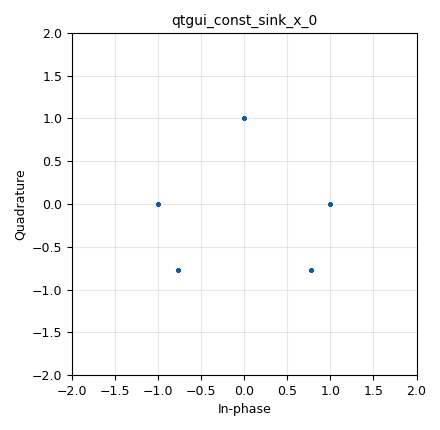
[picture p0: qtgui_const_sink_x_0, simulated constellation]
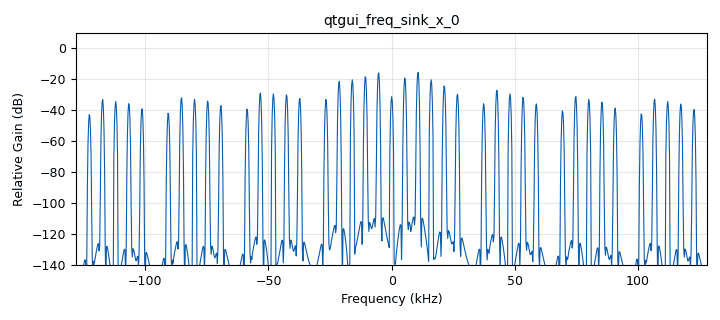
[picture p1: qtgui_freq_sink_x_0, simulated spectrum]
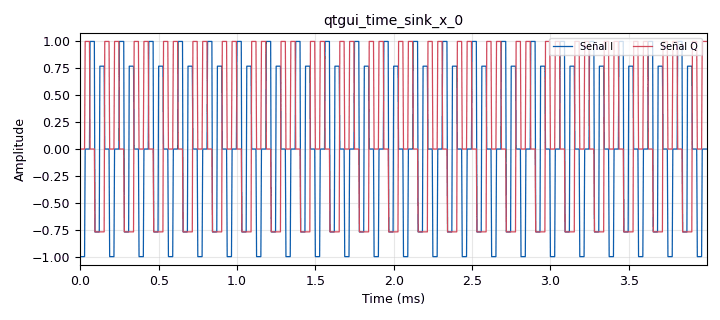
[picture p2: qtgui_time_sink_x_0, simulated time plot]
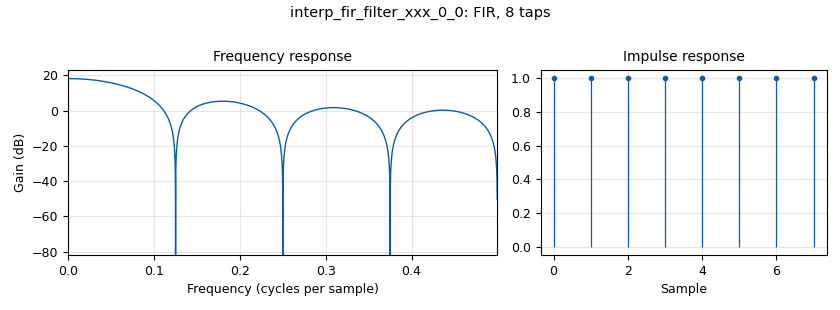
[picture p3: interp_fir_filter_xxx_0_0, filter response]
options:
  parameters:
    generate_options: qt_gui
    id: punto_1
    output_language: python
    title: Not titled yet
  states: {}

blocks:
- name: Bps
  id: variable
  parameters:
    value: '3'
  states: {}
- name: Constelacion
  id: variable
  parameters:
    value: (-0.77-0.77j,-1+0j,0+1j,-0.77+0.77j,0-1j,0.77-0.77j,0.77+0.77j,1+0j)
  states: {}
- name: M
  id: variable
  parameters:
    value: len(Constelacion)
  states: {}
- name: Rb
  id: variable
  parameters:
    value: Rs*Bps
  states: {}
- name: Rs
  id: variable
  parameters:
    value: '32000'
  states: {}
- name: Samp_rate
  id: variable
  parameters:
    value: Sps*Rs
  states: {}
- name: Sps
  id: variable
  parameters:
    value: '8'
  states: {}
- name: h
  id: variable
  parameters:
    value: '[1]*Sps'
  states: {}
- name: analog_noise_source_x_0
  id: analog_noise_source_x
  parameters:
    amp: '0.2'
    noise_type: analog.GR_GAUSSIAN
    seed: '0'
    type: complex
  states: {state: disabled}
- name: analog_random_source_x_0
  id: analog_random_source_x
  parameters:
    max: '2'
    min: '0'
    num_samps: '1000'
    repeat: 'True'
    type: byte
  states: {state: disabled}
- name: blocks_add_xx_0
  id: blocks_add_xx
  parameters:
    type: complex
  states: {state: disabled}
- name: blocks_pack_k_bits_bb_0
  id: blocks_pack_k_bits_bb
  parameters:
    k: '8'
  states: {state: disabled}
- name: blocks_packed_to_unpacked_xx_0
  id: blocks_packed_to_unpacked_xx
  parameters:
    bits_per_chunk: Bps
    endianness: gr.GR_MSB_FIRST
    type: byte
  states: {state: disabled}
- name: blocks_vector_source_x_0
  id: blocks_vector_source_x
  parameters:
    repeat: 'True'
    type: byte
    vector: (5,2,1,2,7,0)
  states: {}
- name: digital_chunks_to_symbols_xx_0
  id: digital_chunks_to_symbols_xx
  parameters:
    dimension: '1'
    in_type: byte
    out_type: complex
    symbol_table: Constelacion
  states: {}
- name: import_0
  id: import
  parameters:
    imports: import math
  states: {}
- name: interp_fir_filter_xxx_0_0
  id: interp_fir_filter_xxx
  parameters:
    interp: Sps
    taps: h
    type: ccf
  states: {}
- name: qtgui_const_sink_x_0
  id: qtgui_const_sink_x
  parameters:
    size: '1024'
    type: complex
  states: {}
- name: qtgui_freq_sink_x_0
  id: qtgui_freq_sink_x
  parameters:
    average: '0.05'
    bw: Samp_rate
    fc: '0'
    fftsize: '1024'
    type: complex
  states: {}
- name: qtgui_time_sink_x_0
  id: qtgui_time_sink_x
  parameters:
    label1: Señal I
    label2: Señal Q
    size: '1024'
    srate: Samp_rate
    type: complex
  states: {}
- name: virtual_sink_0
  id: virtual_sink
  parameters:
    stream_id: P1
  states: {}
- name: virtual_sink_1
  id: virtual_sink
  parameters:
    stream_id: P0
  states: {}
- name: virtual_source_0
  id: virtual_source
  parameters:
    stream_id: P0
  states: {}
- name: virtual_source_1
  id: virtual_source
  parameters:
    stream_id: P1
  states: {}

connections:
- [analog_noise_source_x_0, '0', blocks_add_xx_0, '1']
- [analog_random_source_x_0, '0', blocks_pack_k_bits_bb_0, '0']
- [blocks_add_xx_0, '0', virtual_sink_0, '0']
- [blocks_pack_k_bits_bb_0, '0', blocks_packed_to_unpacked_xx_0, '0']
- [blocks_packed_to_unpacked_xx_0, '0', digital_chunks_to_symbols_xx_0, '0']
- [blocks_vector_source_x_0, '0', digital_chunks_to_symbols_xx_0, '0']
- [digital_chunks_to_symbols_xx_0, '0', interp_fir_filter_xxx_0_0, '0']
- [interp_fir_filter_xxx_0_0, '0', blocks_add_xx_0, '0']
- [interp_fir_filter_xxx_0_0, '0', virtual_sink_0, '0']
- [interp_fir_filter_xxx_0_0, '0', virtual_sink_1, '0']
- [virtual_source_0, '0', qtgui_freq_sink_x_0, '0']
- [virtual_source_1, '0', qtgui_const_sink_x_0, '0']
- [virtual_source_1, '0', qtgui_time_sink_x_0, '0']

metadata:
  file_format: 1
  grc_version: 3.10.7.0
